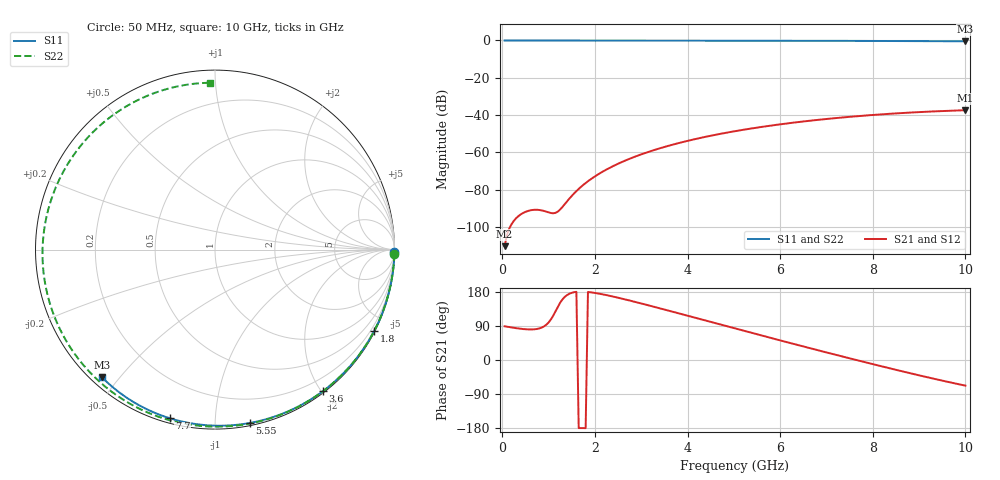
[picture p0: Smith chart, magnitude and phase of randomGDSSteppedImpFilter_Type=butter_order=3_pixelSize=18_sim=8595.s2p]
! freq	dB(S11)	phase(S11)	dB(S12)	phase(S12)
!  dB(S21)	phase(S21)	dB(S22)	phase(S22)
!S-par simulation data
#  GHz  S  DB  R 50
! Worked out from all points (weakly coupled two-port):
!   200 points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, 50 MHz to 10 GHz, reference 50 ohm
!   highest |S21| = -37.40 dB at 10 GHz (marker M1); lowest = -110.3 dB at 50 MHz (marker M2)
!   lowest |S11| = -0.4 dB at 10 GHz (marker M3), VSWR 39.07, Z = 1.54 - j22.5 ohm
!   |S11| at or under -10 dB: nowhere
!   |S22| runs from -0.6 to 0.0 dB; largest |S21 - S12| = 0
!   S11 on the Smith chart (normalised r, x): 50 MHz: open; 1.8 GHz: 0.04, -4.17; 3.6 GHz: 0.02, -2.02; 5.55 GHz: 0.02, -1.22; 7.7 GHz: 0.02, -0.77; 10 GHz: 0.03, -0.45
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0.05  -0.00 -0.8  -110.28 88.9  -110.28 88.9  -0.00 -1.4
0.8  -0.02 -12.1  -90.88 83.3  -90.88 83.3  -0.03 -22.7
1.6  -0.03 -24.0  -80.75 179.9  -80.75 179.9  -0.06 -44.9
1.65  -0.03 -24.7  -79.58 -179.6  -79.58 -179.6  -0.06 -46.3
1.75  -0.03 -26.2  -77.41 -179.6  -77.41 -179.6  -0.06 -49.0
1.8  -0.03 -26.9  -76.42 -180.0  -76.42 -180.0  -0.06 -50.3
2.1  -0.04 -31.3  -71.31 174.9  -71.31 174.9  -0.07 -58.4
2.5  -0.05 -37.1  -66.09 164.4  -66.09 164.4  -0.09 -69.0
2.9  -0.06 -42.9  -61.97 152.3  -61.97 152.3  -0.10 -79.4
3.4  -0.07 -49.9  -57.82 136.4  -57.82 136.4  -0.12 -92.0
3.6  -0.07 -52.7  -56.39 130.0  -56.39 130.0  -0.13 -97.0
4.3  -0.09 -62.3  -52.13 107.0  -52.13 107.0  -0.16 -114.3
5.05  -0.11 -72.2  -48.52 82.5  -48.52 82.5  -0.20 -132.4
5.55  -0.13 -78.7  -46.53 66.2  -46.53 66.2  -0.23 -144.4
6.15  -0.15 -86.3  -44.48 46.9  -44.48 46.9  -0.28 -159.0
6.7  -0.18 -93.1  -42.87 29.4  -42.87 29.4  -0.32 -172.7
7.2  -0.21 -99.1  -41.61 13.7  -41.61 13.7  -0.37 174.5
7.7  -0.24 -105.1  -40.52 -1.8  -40.52 -1.8  -0.41 161.3
8.35  -0.29 -112.7  -39.34 -21.5  -39.34 -21.5  -0.48 143.2
9.25  -0.37 -123.0  -38.11 -47.5  -38.11 -47.5  -0.57 116.1
9.65  -0.41 -127.5  -37.70 -58.5  -37.70 -58.5  -0.60 103.3
10  -0.44 -131.5  -37.40 -67.7  -37.40 -67.7  -0.63 91.8
